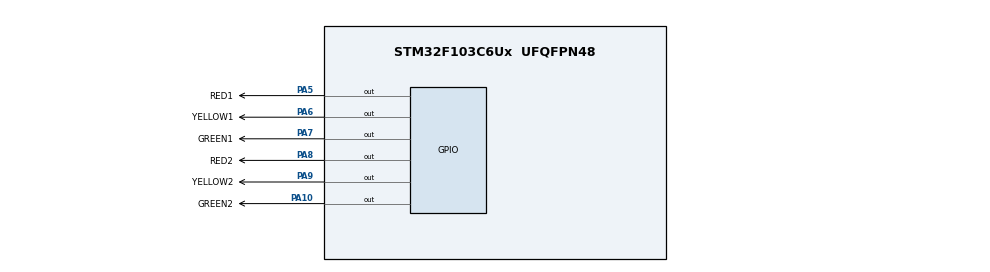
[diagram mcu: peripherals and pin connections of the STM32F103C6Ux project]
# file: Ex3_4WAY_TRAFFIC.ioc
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Mcu.Family=STM32F1
Mcu.Name=STM32F103C6Ux
Mcu.Package=UFQFPN48
NVIC.PriorityGroup=NVIC_PRIORITYGROUP_4
PA10.GPIO_Label=GREEN2
PA10.Signal=GPIO_Output
PA5.GPIO_Label=RED1
PA5.Signal=GPIO_Output
PA6.GPIO_Label=YELLOW1
PA6.Signal=GPIO_Output
PA7.GPIO_Label=GREEN1
PA7.Signal=GPIO_Output
PA8.GPIO_Label=RED2
PA8.Signal=GPIO_Output
PA9.GPIO_Label=YELLOW2
PA9.Signal=GPIO_Output
ProjectManager.HeapSize=0x200
ProjectManager.StackSize=0x400
ProjectManager.TargetToolchain=STM32CubeIDE
RCC.APB1Freq_Value=8000000
RCC.APB2Freq_Value=8000000
VP_SYS_VS_ND.Mode=No_Debug
board=custom

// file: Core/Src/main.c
/* USER CODE BEGIN Header */
/**
  ******************************************************************************
  * @file           : main.c
  * @brief          : Main program body
  ******************************************************************************
  * @attention
  *
  * <h2><center>&copy; Copyright (c) 2023 STMicroelectronics.
  * All rights reserved.</center></h2>
  *
  * This software component is licensed by ST under BSD 3-Clause license,
  * the "License"; You may not use this file except in compliance with the
  * License. You may obtain a copy of the License at:
  *                        opensource.org/licenses/BSD-3-Clause
  *
  ******************************************************************************
  */
/* USER CODE END Header */
#include "main.h"

void SystemClock_Config(void);
static void MX_GPIO_Init(void);

int main(void)
{

  /* MCU Configuration--------------------------------------------------------*/

  /* Reset of all peripherals, Initializes the Flash interface and the Systick. */
  HAL_Init();

  /* Configure the system clock */
  SystemClock_Config();

  /* Initialize all configured peripherals */
  MX_GPIO_Init();

  /* Infinite loop */
  /* USER CODE BEGIN WHILE */
	int sec1 = 0;
	int sec2 = 5;		// cum den 2 se chay cham hon cum den 1 5giay;

	// trang thai mac dinh cho cum den 1
  HAL_GPIO_WritePin(RED1_GPIO_Port, RED1_Pin, RESET);
  HAL_GPIO_WritePin(YELLOW1_GPIO_Port, YELLOW1_Pin, SET);
  HAL_GPIO_WritePin(GREEN1_GPIO_Port, GREEN1_Pin, SET);

  // trang thai mac dinh cho cum den 2
  HAL_GPIO_WritePin(RED2_GPIO_Port, RED2_Pin, RESET);
  HAL_GPIO_WritePin(YELLOW2_GPIO_Port, YELLOW2_Pin, SET);
  HAL_GPIO_WritePin(GREEN2_GPIO_Port, GREEN2_Pin, SET);

while (1)
{
	  ++sec1;
	  ++sec2;

	  //den DO1 sang 5 giay, sau do swictch-case.
	  switch(sec1) {
	  // den XANH1 sang
	    case 6:
	    	HAL_GPIO_WritePin(RED1_GPIO_Port, RED1_Pin, SET);
	    	HAL_GPIO_WritePin(GREEN1_GPIO_Port, GREEN1_Pin, RESET);
	      break;
	  // den VANG1 sang
	    case 9:
	    	HAL_GPIO_WritePin(GREEN1_GPIO_Port, GREEN1_Pin, SET);
	    	HAL_GPIO_WritePin(YELLOW1_GPIO_Port, YELLOW1_Pin, RESET);
	      break;
	  // reset ve 1, den DO1 sang
	    case 11:
	    	HAL_GPIO_WritePin(YELLOW1_GPIO_Port, YELLOW1_Pin, SET);
	    	HAL_GPIO_WritePin(RED1_GPIO_Port, RED1_Pin, RESET);
	    	sec1 = 1;
	      break;

	    default:
	      break;
	  }

	  switch(sec2) {
	  	  // den XANH2 sang
	  	    case 6:
	  	    	HAL_GPIO_WritePin(RED2_GPIO_Port, RED2_Pin, SET);
	  	    	HAL_GPIO_WritePin(GREEN2_GPIO_Port, GREEN2_Pin, RESET);
	  	      break;
	  	  // den VANG2 sang
	  	    case 9:
	  	    	HAL_GPIO_WritePin(GREEN2_GPIO_Port, GREEN2_Pin, SET);
	  	    	HAL_GPIO_WritePin(YELLOW2_GPIO_Port, YELLOW2_Pin, RESET);
	  	      break;
	  	  // reset ve 1, den DO2 sang
	  	    case 11:
	  	    	HAL_GPIO_WritePin(YELLOW2_GPIO_Port, YELLOW2_Pin, SET);
	  	    	HAL_GPIO_WritePin(RED2_GPIO_Port, RED2_Pin, RESET);
	  	    	sec2 = 1;
	  	      break;

	  	    default:
	  	      break;
	  }

	  HAL_Delay(1000);

  /* USER CODE END WHILE */
}
}
void SystemClock_Config(void)
{
  RCC_OscInitTypeDef RCC_OscInitStruct = {0};
  RCC_ClkInitTypeDef RCC_ClkInitStruct = {0};

  /** Initializes the RCC Oscillators according to the specified parameters
  * in the RCC_OscInitTypeDef structure.
  */
  RCC_OscInitStruct.OscillatorType = RCC_OSCILLATORTYPE_HSI;
  RCC_OscInitStruct.HSIState = RCC_HSI_ON;
  RCC_OscInitStruct.HSICalibrationValue = RCC_HSICALIBRATION_DEFAULT;
  RCC_OscInitStruct.PLL.PLLState = RCC_PLL_NONE;
  if (HAL_RCC_OscConfig(&RCC_OscInitStruct) != HAL_OK)
  {
    Error_Handler();
  }
  /** Initializes the CPU, AHB and APB buses clocks
  */
  RCC_ClkInitStruct.ClockType = RCC_CLOCKTYPE_HCLK|RCC_CLOCKTYPE_SYSCLK
                              |RCC_CLOCKTYPE_PCLK1|RCC_CLOCKTYPE_PCLK2;
  RCC_ClkInitStruct.SYSCLKSource = RCC_SYSCLKSOURCE_HSI;
  RCC_ClkInitStruct.AHBCLKDivider = RCC_SYSCLK_DIV1;
  RCC_ClkInitStruct.APB1CLKDivider = RCC_HCLK_DIV1;
  RCC_ClkInitStruct.APB2CLKDivider = RCC_HCLK_DIV1;

  if (HAL_RCC_ClockConfig(&RCC_ClkInitStruct, FLASH_LATENCY_0) != HAL_OK)
  {
    Error_Handler();
  }
}

static void MX_GPIO_Init(void)
{
  GPIO_InitTypeDef GPIO_InitStruct = {0};

  /* GPIO Ports Clock Enable */
  __HAL_RCC_GPIOA_CLK_ENABLE();

  /*Configure GPIO pin Output Level */
  HAL_GPIO_WritePin(GPIOA, RED1_Pin|YELLOW1_Pin|GREEN1_Pin|RED2_Pin
                          |YELLOW2_Pin|GREEN2_Pin, GPIO_PIN_RESET);

  /*Configure GPIO pins : RED1_Pin YELLOW1_Pin GREEN1_Pin RED2_Pin
                           YELLOW2_Pin GREEN2_Pin */
  GPIO_InitStruct.Pin = RED1_Pin|YELLOW1_Pin|GREEN1_Pin|RED2_Pin
                          |YELLOW2_Pin|GREEN2_Pin;
  GPIO_InitStruct.Mode = GPIO_MODE_OUTPUT_PP;
  GPIO_InitStruct.Pull = GPIO_NOPULL;
  GPIO_InitStruct.Speed = GPIO_SPEED_FREQ_LOW;
  HAL_GPIO_Init(GPIOA, &GPIO_InitStruct);

}

void Error_Handler(void)
{
  __disable_irq();
  while (1)
  {
  }
}

/************************ (C) COPYRIGHT STMicroelectronics *****END OF FILE****/
